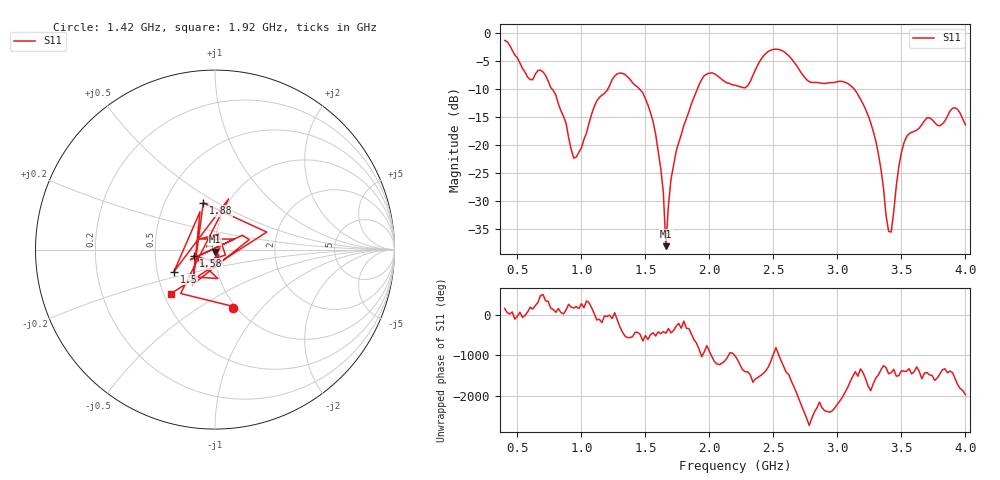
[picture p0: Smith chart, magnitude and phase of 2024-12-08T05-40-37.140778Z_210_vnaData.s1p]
!Created with skrf (http://scikit-rf.org).
# Hz S RI R 50.0
!freq ReS11 ImS11
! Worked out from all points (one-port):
!   181 points, 400 MHz to 4 GHz, reference 50 ohm
!   lowest |S11| = -38.1 dB at 1.66 GHz (marker M1), VSWR 1.03, Z = 49.9 - j1.23 ohm
!   |S11| at or under -10 dB: 770.2 MHz to 1.206 GHz (436.2 MHz wide, 44.1 % of centre); 1.454 GHz to 1.906 GHz (452.2 MHz wide, 26.9 % of centre); 3.131 GHz to end of sweep
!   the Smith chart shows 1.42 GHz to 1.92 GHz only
!   S11 on the Smith chart (normalised r, x): 1.42 GHz: 0.97, -0.71; 1.5 GHz: 0.61, -0.16; 1.58 GHz: 0.79, -0.06; 1.88 GHz: 0.77, +0.43; 1.92 GHz: 0.55, -0.30
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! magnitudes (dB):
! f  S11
! 400 MHz  -1.3
! 600 MHz  -8.3
! 700 MHz  -6.9
! 860 MHz  -14.9
! 960 MHz  -22.2
! 1.12 GHz  -12.1
! 1.3 GHz  -7.1
! 1.42 GHz  -9.3
! 1.5 GHz  -11.7
! 1.58 GHz  -18.1
! 1.64 GHz  -28.4
! 1.66 GHz  -38.1
! 1.7 GHz  -26.2
! 1.76 GHz  -19.6
! 1.88 GHz  -11.4
! 1.92 GHz  -9.2
! 2.2 GHz  -9.3
! 2.48 GHz  -3.0
! 2.66 GHz  -5.2
! 2.78 GHz  -8.7
! 3.1 GHz  -9.3
! 3.3 GHz  -19.3
! 3.4 GHz  -35.5
! 3.42 GHz  -35.6
! 3.5 GHz  -21.4
! 3.56 GHz  -18.0
! 3.92 GHz  -13.4
! 4 GHz  -16.4
